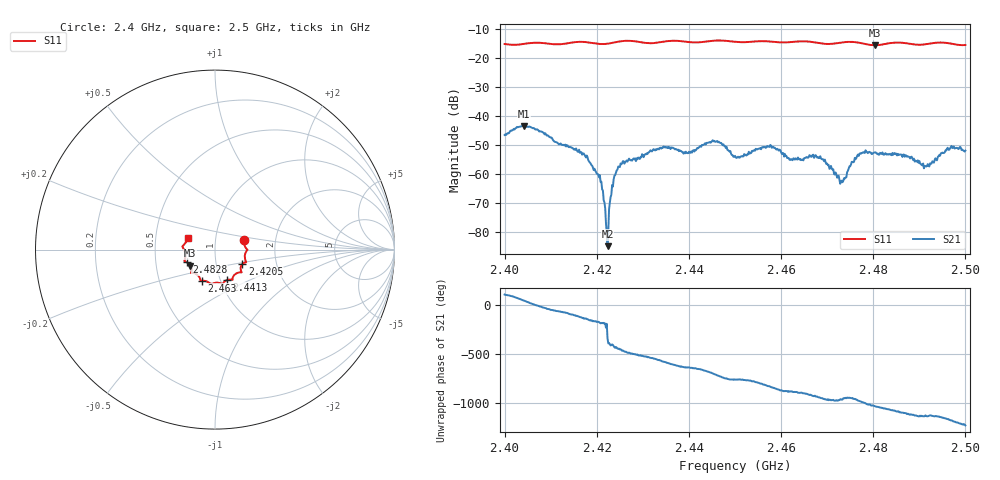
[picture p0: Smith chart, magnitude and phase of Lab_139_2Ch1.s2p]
# Hz S RI R 50
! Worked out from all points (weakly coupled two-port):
!   601 points, 2.4 GHz to 2.5 GHz, reference 50 ohm
!   highest |S21| = -43.48 dB at 2.4042 GHz (marker M1); lowest = -84.9 dB at 2.4223 GHz (marker M2)
!   lowest |S11| = -15.7 dB at 2.4803 GHz (marker M3), VSWR 1.39, Z = 37.4 - j6.84 ohm
!   |S11| at or under -10 dB: start of sweep to end of sweep
!   S12 and S22 are empty: the file has one direction only
!   S11 on the Smith chart (normalised r, x): 2.4 GHz: 1.38, +0.15; 2.4205 GHz: 1.34, -0.22; 2.4413 GHz: 1.08, -0.38; 2.463 GHz: 0.82, -0.29; 2.4828 GHz: 0.72, -0.10; 2.5 GHz: 0.73, +0.10
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2.4e9  0.1632 0.0525  -0.00162 0.00438  0 0  0 0
2.404167e9  0.1721 0.00861  0.00444 0.00502  0 0  0 0
2.416667e9  0.1735 -0.0697  -0.00134 -0.00194  0 0  0 0
2.4205e9  0.1519 -0.081  -0.000865 -0.000129  0 0  0 0
2.422333e9  0.1435 -0.0978  5.28e-05 2.21e-05  0 0  0 0
2.423833e9  0.1438 -0.113  0.000339 -0.000869  0 0  0 0
2.425167e9  0.1464 -0.1225  2.1e-05 -0.00151  0 0  0 0
2.433333e9  0.1003 -0.1516  -0.00257 0.000906  0 0  0 0
2.441333e9  0.0677 -0.1695  0.000544 0.00253  0 0  0 0
2.445667e9  0.0425 -0.1919  0.00346 0.00093  0 0  0 0
2.45e9  0.0247 -0.1857  0.00159 -0.00128  0 0  0 0
2.457333e9  -0.0269 -0.1881  -0.000755 -0.00286  0 0  0 0
2.463e9  -0.072 -0.1735  -0.00171 -0.000437  0 0  0 0
2.466667e9  -0.0815 -0.1674  -0.00185 0.000696  0 0  0 0
2.473167e9  -0.1275 -0.1302  -0.000334 0.00069  0 0  0 0
2.477e9  -0.1312 -0.123  -0.000527 0.00215  0 0  0 0
2.480333e9  -0.1372 -0.089  0.00146 0.00183  0 0  0 0
2.482833e9  -0.1585 -0.0701  0.00198 0.000845  0 0  0 0
2.483333e9  -0.1625 -0.0683  0.00205 0.000639  0 0  0 0
2.4915e9  -0.1705 -0.00393  0.000833 -0.00105  0 0  0 0
2.4965e9  -0.1743 0.0257  -3.75e-05 -0.00261  0 0  0 0
2.5e9  -0.1519 0.064  -0.00211 -0.00137  0 0  0 0
